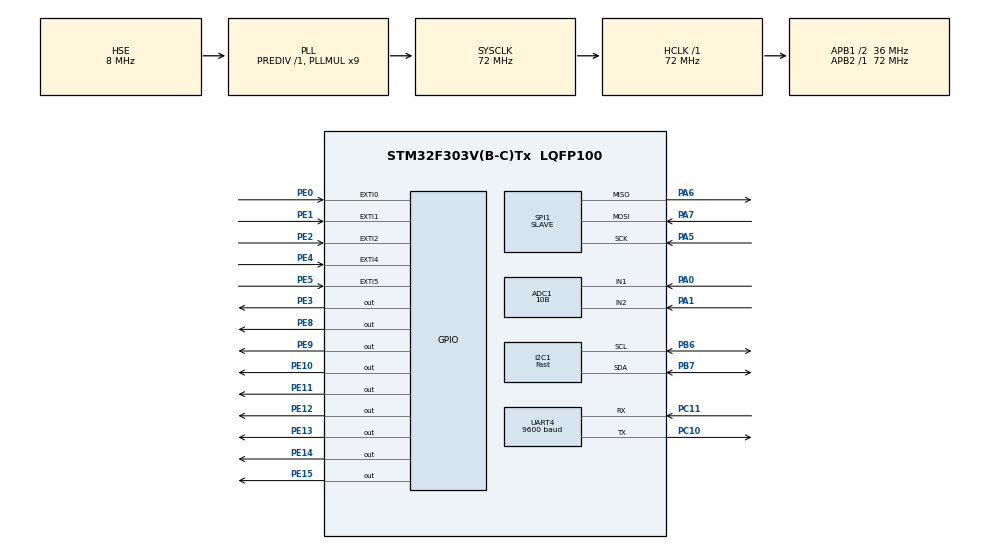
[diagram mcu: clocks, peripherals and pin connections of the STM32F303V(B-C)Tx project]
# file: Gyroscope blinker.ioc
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ADC1.Channel-43\#ChannelRegularConversion=ADC_CHANNEL_1
ADC1.Channel-44\#ChannelRegularConversion=ADC_CHANNEL_2
ADC1.ClockPrescaler=ADC_CLOCK_SYNC_PCLK_DIV4
ADC1.ContinuousConvMode=ENABLE
ADC1.DMAContinuousRequests=DISABLE
ADC1.DataAlign=ADC_DATAALIGN_RIGHT
ADC1.DiscontinuousConvMode=DISABLE
ADC1.EOCSelection=ADC_EOC_SINGLE_CONV
ADC1.EnableAnalogWatchDog1=false
ADC1.EnableAnalogWatchDog2=false
ADC1.EnableAnalogWatchDog3=false
ADC1.EnableInjectedConversion=ENABLE
ADC1.EnableRegularConversion=ENABLE
ADC1.ExternalTrigConv=ADC_SOFTWARE_START
ADC1.ExternalTrigConvEdge=ADC_EXTERNALTRIGCONVEDGE_NONE
ADC1.ExternalTrigInjecConv=ADC_INJECTED_SOFTWARE_START
ADC1.ExternalTrigInjecConvEdge=ADC_EXTERNALTRIGINJECCONV_EDGE_NONE
ADC1.InjNumberOfConversion=2
ADC1.InjectedChannel-45\#ChannelInjectedConversion=ADC_CHANNEL_1
ADC1.InjectedChannel-46\#ChannelInjectedConversion=ADC_CHANNEL_2
ADC1.InjectedConvMode=None
ADC1.InjectedOffset-45\#ChannelInjectedConversion=0
ADC1.InjectedOffset-46\#ChannelInjectedConversion=0
ADC1.InjectedOffsetNumber-45\#ChannelInjectedConversion=ADC_OFFSET_NONE
ADC1.InjectedOffsetNumber-46\#ChannelInjectedConversion=ADC_OFFSET_NONE
ADC1.InjectedRank-45\#ChannelInjectedConversion=1
ADC1.InjectedRank-46\#ChannelInjectedConversion=2
ADC1.InjectedSamplingTime-45\#ChannelInjectedConversion=ADC_SAMPLETIME_601CYCLES_5
ADC1.InjectedSamplingTime-46\#ChannelInjectedConversion=ADC_SAMPLETIME_601CYCLES_5
ADC1.LowPowerAutoWait=DISABLE
ADC1.NbrOfConversion=2
ADC1.NbrOfConversionFlag=1
ADC1.Offset-43\#ChannelRegularConversion=0
ADC1.Offset-44\#ChannelRegularConversion=0
ADC1.OffsetNumber-43\#ChannelRegularConversion=ADC_OFFSET_NONE
ADC1.OffsetNumber-44\#ChannelRegularConversion=ADC_OFFSET_NONE
ADC1.Overrun=ADC_OVR_DATA_PRESERVED
ADC1.QueueInjectedContext=DISABLE
ADC1.Rank-43\#ChannelRegularConversion=1
ADC1.Rank-44\#ChannelRegularConversion=2
ADC1.Resolution=ADC_RESOLUTION_10B
ADC1.SamplingTime-43\#ChannelRegularConversion=ADC_SAMPLETIME_601CYCLES_5
ADC1.SamplingTime-44\#ChannelRegularConversion=ADC_SAMPLETIME_601CYCLES_5
ADC1.ScanConvMode=ADC_SCAN_ENABLE
ADC1.master=1
I2C1.DualAddressMode=I2C_DUALADDRESS_ENABLE
I2C1.I2C_Speed_Mode=I2C_Fast
I2C1.Timing=0x00702681
Mcu.Family=STM32F3
Mcu.Name=STM32F303V(B-C)Tx
Mcu.Package=LQFP100
NVIC.ADC1_2_IRQn=true\:0\:0\:false\:false\:true\:true
NVIC.EXTI2_TSC_IRQn=true\:0\:0\:false\:false\:true\:true
NVIC.EXTI4_IRQn=true\:0\:0\:false\:false\:true\:true
NVIC.I2C1_ER_IRQn=true\:0\:0\:false\:false\:true\:true
NVIC.I2C1_EV_IRQn=true\:0\:0\:false\:false\:true\:true
NVIC.PriorityGroup=NVIC_PRIORITYGROUP_0
NVIC.SPI1_IRQn=true\:0\:0\:false\:false\:true\:true
NVIC.UART4_IRQn=true\:0\:0\:false\:false\:true\:true
PA0.Mode=IN1-Single-Ended
PA0.Signal=ADC1_IN1
PA1.Mode=IN2-Single-Ended
PA1.Signal=ADC1_IN2
PA11.GPIO_Mode=GPIO_MODE_AF_PP
PA11.GPIO_PuPd=GPIO_NOPULL
PA11.GPIO_Speed=GPIO_SPEED_FREQ_HIGH
PA11.Signal=USB_DM
PA12.GPIO_Mode=GPIO_MODE_AF_PP
PA12.GPIO_PuPd=GPIO_NOPULL
PA12.GPIO_Speed=GPIO_SPEED_FREQ_HIGH
PA12.Signal=USB_DP
PA13.Signal=SYS_JTMS-SWDIO
PA14.Signal=SYS_JTCK-SWCLK
PA5.Mode=Full_Duplex_Slave
PA5.Signal=SPI1_SCK
PA6.GPIO_Mode=GPIO_MODE_AF_PP
PA6.GPIO_PuPd=GPIO_NOPULL
PA6.GPIO_Speed=GPIO_SPEED_FREQ_HIGH
PA6.Mode=Full_Duplex_Slave
PA6.Signal=SPI1_MISO
PA7.GPIO_Mode=GPIO_MODE_AF_PP
PA7.GPIO_PuPd=GPIO_NOPULL
PA7.GPIO_Speed=GPIO_SPEED_FREQ_HIGH
PA7.Mode=Full_Duplex_Slave
PA7.Signal=SPI1_MOSI
PB3.Signal=SYS_JTDO-TRACESWO
PB6.GPIO_FM6=__NULL
PB6.GPIO_Mode=GPIO_MODE_AF_OD
PB6.GPIO_PuPd=GPIO_NOPULL
PB6.GPIO_PuPdOD=GPIO_PULLUP
PB6.GPIO_Speed=GPIO_SPEED_FREQ_HIGH
PB6.Mode=I2C
PB6.Signal=I2C1_SCL
PB7.GPIO_FM7=__NULL
PB7.GPIO_Mode=GPIO_MODE_AF_OD
PB7.GPIO_PuPd=GPIO_NOPULL
PB7.GPIO_PuPdOD=GPIO_PULLUP
PB7.GPIO_Speed=GPIO_SPEED_FREQ_HIGH
PB7.Mode=I2C
PB7.Signal=I2C1_SDA
PC10.Mode=Asynchronous
PC10.Signal=UART4_TX
PC11.Mode=Asynchronous
PC11.Signal=UART4_RX
PC14-OSC32_IN.Signal=RCC_OSC32_IN
PC15-OSC32_OUT.Signal=RCC_OSC32_OUT
PE0.GPIO_ModeDefaultEXTI=GPIO_MODE_IT_RISING
PE0.GPIO_PuPd=GPIO_NOPULL
PE0.Signal=GPXTI0
PE1.GPIO_ModeDefaultEXTI=GPIO_MODE_IT_RISING
PE1.GPIO_PuPd=GPIO_NOPULL
PE1.Signal=GPXTI1
PE10.GPIO_ModeDefaultOutputPP=GPIO_MODE_OUTPUT_PP
PE10.GPIO_PuPd=GPIO_NOPULL
PE10.GPIO_Speed=GPIO_SPEED_FREQ_LOW
PE10.PinState=GPIO_PIN_RESET
PE10.Signal=GPIO_Output
PE11.GPIO_ModeDefaultOutputPP=GPIO_MODE_OUTPUT_PP
PE11.GPIO_PuPd=GPIO_NOPULL
PE11.GPIO_Speed=GPIO_SPEED_FREQ_LOW
PE11.PinState=GPIO_PIN_RESET
PE11.Signal=GPIO_Output
PE12.GPIO_ModeDefaultOutputPP=GPIO_MODE_OUTPUT_PP
PE12.GPIO_PuPd=GPIO_NOPULL
PE12.GPIO_Speed=GPIO_SPEED_FREQ_LOW
PE12.PinState=GPIO_PIN_RESET
PE12.Signal=GPIO_Output
PE13.GPIO_ModeDefaultOutputPP=GPIO_MODE_OUTPUT_PP
PE13.GPIO_PuPd=GPIO_NOPULL
PE13.GPIO_Speed=GPIO_SPEED_FREQ_LOW
PE13.PinState=GPIO_PIN_RESET
PE13.Signal=GPIO_Output
PE14.GPIO_ModeDefaultOutputPP=GPIO_MODE_OUTPUT_PP
PE14.GPIO_PuPd=GPIO_NOPULL
PE14.GPIO_Speed=GPIO_SPEED_FREQ_LOW
PE14.PinState=GPIO_PIN_RESET
PE14.Signal=GPIO_Output
PE15.GPIO_ModeDefaultOutputPP=GPIO_MODE_OUTPUT_PP
PE15.GPIO_PuPd=GPIO_NOPULL
PE15.GPIO_Speed=GPIO_SPEED_FREQ_LOW
PE15.PinState=GPIO_PIN_RESET
PE15.Signal=GPIO_Output
PE2.GPIO_ModeDefaultEXTI=GPIO_MODE_IT_RISING
PE2.GPIO_PuPd=GPIO_NOPULL
PE2.Signal=GPXTI2
PE3.GPIO_ModeDefaultOutputPP=GPIO_MODE_OUTPUT_PP
PE3.GPIO_PuPd=GPIO_NOPULL
PE3.GPIO_Speed=GPIO_SPEED_FREQ_LOW
PE3.PinState=GPIO_PIN_RESET
PE3.Signal=GPIO_Output
PE4.Signal=GPXTI4
PE5.GPIO_ModeDefaultEXTI=GPIO_MODE_IT_RISING
PE5.GPIO_PuPd=GPIO_NOPULL
PE5.Signal=GPXTI5
PE8.GPIO_ModeDefaultOutputPP=GPIO_MODE_OUTPUT_PP
PE8.GPIO_PuPd=GPIO_NOPULL
PE8.GPIO_Speed=GPIO_SPEED_FREQ_LOW
PE8.PinState=GPIO_PIN_RESET
PE8.Signal=GPIO_Output
PE9.GPIO_ModeDefaultOutputPP=GPIO_MODE_OUTPUT_PP
PE9.GPIO_PuPd=GPIO_NOPULL
PE9.GPIO_Speed=GPIO_SPEED_FREQ_LOW
PE9.PinState=GPIO_PIN_RESET
PE9.Signal=GPIO_Output
PF0-OSC_IN.Mode=HSE-External-Oscillator
PF0-OSC_IN.Signal=RCC_OSC_IN
PF1-OSC_OUT.Mode=HSE-External-Oscillator
PF1-OSC_OUT.Signal=RCC_OSC_OUT
ProjectManager.HeapSize=0x200
ProjectManager.StackSize=0x400
ProjectManager.TargetToolchain=SW4STM32
RCC.AHBFreq_Value=72000000
RCC.APB1CLKDivider=RCC_HCLK_DIV2
RCC.APB1Freq_Value=36000000
RCC.APB1TimFreq_Value=72000000
RCC.APB2Freq_Value=72000000
RCC.APB2TimFreq_Value=72000000
RCC.CortexFreq_Value=72000000
RCC.HCLKFreq_Value=72000000
RCC.HSE_VALUE=8000000
RCC.HSI_VALUE=8000000
RCC.I2c1ClockSelection=RCC_I2C1CLKSOURCE_SYSCLK
RCC.I2c2ClockSelection=RCC_I2C2CLKSOURCE_SYSCLK
RCC.LSE_VALUE=32768
RCC.PLLMUL=RCC_PLL_MUL9
RCC.PLLSourceVirtual=RCC_PLLSOURCE_HSE
RCC.SYSCLKFreq_VALUE=72000000
RCC.SYSCLKSourceVirtual=RCC_SYSCLKSOURCE_PLLCLK
RCC.USBFreq_Value=72000000
RCC.Uart4ClockSelection=RCC_UART4CLKSOURCE_SYSCLK
SPI1.Direction=SPI_DIRECTION_2LINES
SPI1.Mode=SPI_MODE_SLAVE
SPI1.VirtualType=VM_SLAVE
UART4.BaudRate=9600
board=STM32F3DISCOVERY

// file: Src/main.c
/**
  ******************************************************************************
  * File Name          : main.c
  * Description        : Main program body
  ******************************************************************************
  ** This notice applies to any and all portions of this file
  * that are not between comment pairs USER CODE BEGIN and
  * USER CODE END. Other portions of this file, whether
  * inserted by the user or by software development tools
  * are owned by their respective copyright owners.
  *
  * COPYRIGHT(c) 2017 STMicroelectronics
  *
  * Redistribution and use in source and binary forms, with or without modification,
  * are permitted provided that the following conditions are met:
  *   1. Redistributions of source code must retain the above copyright notice,
  *      this list of conditions and the following disclaimer.
  *   2. Redistributions in binary form must reproduce the above copyright notice,
  *      this list of conditions and the following disclaimer in the documentation
  *      and/or other materials provided with the distribution.
  *   3. Neither the name of STMicroelectronics nor the names of its contributors
  *      may be used to endorse or promote products derived from this software
  *      without specific prior written permission.
  *
  * THIS SOFTWARE IS PROVIDED BY THE COPYRIGHT HOLDERS AND CONTRIBUTORS "AS IS"
  * AND ANY EXPRESS OR IMPLIED WARRANTIES, INCLUDING, BUT NOT LIMITED TO, THE
  * IMPLIED WARRANTIES OF MERCHANTABILITY AND FITNESS FOR A PARTICULAR PURPOSE ARE
  * DISCLAIMED. IN NO EVENT SHALL THE COPYRIGHT HOLDER OR CONTRIBUTORS BE LIABLE
  * FOR ANY DIRECT, INDIRECT, INCIDENTAL, SPECIAL, EXEMPLARY, OR CONSEQUENTIAL
  * DAMAGES (INCLUDING, BUT NOT LIMITED TO, PROCUREMENT OF SUBSTITUTE GOODS OR
  * SERVICES; LOSS OF USE, DATA, OR PROFITS; OR BUSINESS INTERRUPTION) HOWEVER
  * CAUSED AND ON ANY THEORY OF LIABILITY, WHETHER IN CONTRACT, STRICT LIABILITY,
  * OR TORT (INCLUDING NEGLIGENCE OR OTHERWISE) ARISING IN ANY WAY OUT OF THE USE
  * OF THIS SOFTWARE, EVEN IF ADVISED OF THE POSSIBILITY OF SUCH DAMAGE.
  *
  ******************************************************************************
  */

#include "main.h"
#include "stm32f3xx_hal.h"

/* USER CODE BEGIN Includes */
#include "UART_Interface.h"
#include "Joystick_2_Axis.h"
#include "Gyroscope.h"
#include "Magnetometer.h"
#include "ssd1306.h"

/* USER CODE END Includes */

ADC_HandleTypeDef hadc1;

I2C_HandleTypeDef hi2c1;

SPI_HandleTypeDef hspi1;

UART_HandleTypeDef huart4;

/* USER CODE BEGIN PV */
/* Private variables ---------------------------------------------------------*/

typedef void (*pfnMode)();

pfnMode ModeFunctions[3] = {
  GYRO_UpdateValues,
  MAGNETO_UpdateValues,
  JOYSTICK_UpdateValues,
};

volatile uint32_t current_mode = 0;

void HAL_GPIO_EXTI_Callback(uint16_t GPIO_Pin);
/* USER CODE END PV */

void SystemClock_Config(void);
static void MX_GPIO_Init(void);
static void MX_SPI1_Init(void);
static void MX_UART4_Init(void);
static void MX_I2C1_Init(void);
static void MX_ADC1_Init(void);

/* USER CODE BEGIN PFP */
/* Private function prototypes -----------------------------------------------*/

/* USER CODE END PFP */

int main(void)
{

  /* MCU Configuration----------------------------------------------------------*/

  /* Reset of all peripherals, Initializes the Flash interface and the Systick. */
  HAL_Init();

  /* Configure the system clock */
  SystemClock_Config();

  /* Initialize all configured peripherals */
  MX_GPIO_Init();

  HAL_NVIC_DisableIRQ(EXTI2_TSC_IRQn);

  MX_SPI1_Init();
  MX_UART4_Init();
  MX_I2C1_Init();
  MX_ADC1_Init();

  /* USER CODE BEGIN 2 */
  GYRO_Init();
  ACC_Init();
  MAGNETO_Init();
  JOYSTICK_Init( & _joystick );

  ssd1306_Init();
  UART_InputPromt();

  /* USER CODE END 2 */

  /* Infinite loop */
  /* USER CODE BEGIN WHILE */
  while (1){
    ModeFunctions[current_mode]();

  /* USER CODE END WHILE */

  }

}

/** System Clock Configuration
*/
void SystemClock_Config(void)
{

  RCC_OscInitTypeDef RCC_OscInitStruct;
  RCC_ClkInitTypeDef RCC_ClkInitStruct;
  RCC_PeriphCLKInitTypeDef PeriphClkInit;

    /**Initializes the CPU, AHB and APB busses clocks
    */
  RCC_OscInitStruct.OscillatorType = RCC_OSCILLATORTYPE_HSE;
  RCC_OscInitStruct.HSEState = RCC_HSE_ON;
  RCC_OscInitStruct.HSEPredivValue = RCC_HSE_PREDIV_DIV1;
  RCC_OscInitStruct.HSIState = RCC_HSI_ON;
  RCC_OscInitStruct.PLL.PLLState = RCC_PLL_ON;
  RCC_OscInitStruct.PLL.PLLSource = RCC_PLLSOURCE_HSE;
  RCC_OscInitStruct.PLL.PLLMUL = RCC_PLL_MUL9;
  if (HAL_RCC_OscConfig(&RCC_OscInitStruct) != HAL_OK)
  {
    _Error_Handler(__FILE__, __LINE__);
  }

    /**Initializes the CPU, AHB and APB busses clocks
    */
  RCC_ClkInitStruct.ClockType = RCC_CLOCKTYPE_HCLK|RCC_CLOCKTYPE_SYSCLK
                              |RCC_CLOCKTYPE_PCLK1|RCC_CLOCKTYPE_PCLK2;
  RCC_ClkInitStruct.SYSCLKSource = RCC_SYSCLKSOURCE_PLLCLK;
  RCC_ClkInitStruct.AHBCLKDivider = RCC_SYSCLK_DIV1;
  RCC_ClkInitStruct.APB1CLKDivider = RCC_HCLK_DIV2;
  RCC_ClkInitStruct.APB2CLKDivider = RCC_HCLK_DIV1;

  if (HAL_RCC_ClockConfig(&RCC_ClkInitStruct, FLASH_LATENCY_2) != HAL_OK)
  {
    _Error_Handler(__FILE__, __LINE__);
  }

  PeriphClkInit.PeriphClockSelection = RCC_PERIPHCLK_UART4|RCC_PERIPHCLK_I2C1;
  PeriphClkInit.Uart4ClockSelection = RCC_UART4CLKSOURCE_SYSCLK;
  PeriphClkInit.I2c1ClockSelection = RCC_I2C1CLKSOURCE_SYSCLK;
  if (HAL_RCCEx_PeriphCLKConfig(&PeriphClkInit) != HAL_OK)
  {
    _Error_Handler(__FILE__, __LINE__);
  }

    /**Configure the Systick interrupt time
    */
  HAL_SYSTICK_Config(HAL_RCC_GetHCLKFreq()/1000);

    /**Configure the Systick
    */
  HAL_SYSTICK_CLKSourceConfig(SYSTICK_CLKSOURCE_HCLK);

  /* SysTick_IRQn interrupt configuration */
  HAL_NVIC_SetPriority(SysTick_IRQn, 0, 0);
}

/* ADC1 init function */
static void MX_ADC1_Init(void)
{

  ADC_MultiModeTypeDef multimode;
  ADC_ChannelConfTypeDef sConfig;
  ADC_InjectionConfTypeDef sConfigInjected;

    /**Common config
    */
  hadc1.Instance = ADC1;
  hadc1.Init.ClockPrescaler = ADC_CLOCK_SYNC_PCLK_DIV4;
  hadc1.Init.Resolution = ADC_RESOLUTION_10B;
  hadc1.Init.ScanConvMode = ADC_SCAN_ENABLE;
  hadc1.Init.ContinuousConvMode = ENABLE;
  hadc1.Init.DiscontinuousConvMode = DISABLE;
  hadc1.Init.ExternalTrigConvEdge = ADC_EXTERNALTRIGCONVEDGE_NONE;
  hadc1.Init.ExternalTrigConv = ADC_SOFTWARE_START;
  hadc1.Init.DataAlign = ADC_DATAALIGN_RIGHT;
  hadc1.Init.NbrOfConversion = 2;
  hadc1.Init.DMAContinuousRequests = DISABLE;
  hadc1.Init.EOCSelection = ADC_EOC_SINGLE_CONV;
  hadc1.Init.LowPowerAutoWait = DISABLE;
  hadc1.Init.Overrun = ADC_OVR_DATA_PRESERVED;
  if (HAL_ADC_Init(&hadc1) != HAL_OK)
  {
    _Error_Handler(__FILE__, __LINE__);
  }

    /**Configure the ADC multi-mode
    */
  multimode.Mode = ADC_MODE_INDEPENDENT;
  if (HAL_ADCEx_MultiModeConfigChannel(&hadc1, &multimode) != HAL_OK)
  {
    _Error_Handler(__FILE__, __LINE__);
  }

    /**Configure Regular Channel
    */
  sConfig.Channel = ADC_CHANNEL_1;
  sConfig.Rank = 1;
  sConfig.SingleDiff = ADC_SINGLE_ENDED;
  sConfig.SamplingTime = ADC_SAMPLETIME_601CYCLES_5;
  sConfig.OffsetNumber = ADC_OFFSET_NONE;
  sConfig.Offset = 0;
  if (HAL_ADC_ConfigChannel(&hadc1, &sConfig) != HAL_OK)
  {
    _Error_Handler(__FILE__, __LINE__);
  }

    /**Configure Regular Channel
    */
  sConfig.Channel = ADC_CHANNEL_2;
  sConfig.Rank = 2;
  if (HAL_ADC_ConfigChannel(&hadc1, &sConfig) != HAL_OK)
  {
    _Error_Handler(__FILE__, __LINE__);
  }

    /**Configure Injected Channel
    */
  sConfigInjected.InjectedChannel = ADC_CHANNEL_1;
  sConfigInjected.InjectedRank = 1;
  sConfigInjected.InjectedSingleDiff = ADC_SINGLE_ENDED;
  sConfigInjected.InjectedNbrOfConversion = 2;
  sConfigInjected.InjectedSamplingTime = ADC_SAMPLETIME_601CYCLES_5;
  sConfigInjected.ExternalTrigInjecConvEdge = ADC_EXTERNALTRIGINJECCONV_EDGE_NONE;
  sConfigInjected.ExternalTrigInjecConv = ADC_INJECTED_SOFTWARE_START;
  sConfigInjected.AutoInjectedConv = DISABLE;
  sConfigInjected.InjectedDiscontinuousConvMode = DISABLE;
  sConfigInjected.QueueInjectedContext = DISABLE;
  sConfigInjected.InjectedOffset = 0;
  sConfigInjected.InjectedOffsetNumber = ADC_OFFSET_NONE;
  if (HAL_ADCEx_InjectedConfigChannel(&hadc1, &sConfigInjected) != HAL_OK)
  {
    _Error_Handler(__FILE__, __LINE__);
  }

    /**Configure Injected Channel
    */
  sConfigInjected.InjectedChannel = ADC_CHANNEL_2;
  sConfigInjected.InjectedRank = 2;
  if (HAL_ADCEx_InjectedConfigChannel(&hadc1, &sConfigInjected) != HAL_OK)
  {
    _Error_Handler(__FILE__, __LINE__);
  }

}

/* I2C1 init function */
static void MX_I2C1_Init(void)
{

  hi2c1.Instance = I2C1;
  hi2c1.Init.Timing = 0x00702681;
  hi2c1.Init.OwnAddress1 = 0;
  hi2c1.Init.AddressingMode = I2C_ADDRESSINGMODE_7BIT;
  hi2c1.Init.DualAddressMode = I2C_DUALADDRESS_ENABLE;
  hi2c1.Init.OwnAddress2 = 0;
  hi2c1.Init.OwnAddress2Masks = I2C_OA2_NOMASK;
  hi2c1.Init.GeneralCallMode = I2C_GENERALCALL_DISABLE;
  hi2c1.Init.NoStretchMode = I2C_NOSTRETCH_DISABLE;
  if (HAL_I2C_Init(&hi2c1) != HAL_OK)
  {
    _Error_Handler(__FILE__, __LINE__);
  }

    /**Configure Analogue filter
    */
  if (HAL_I2CEx_ConfigAnalogFilter(&hi2c1, I2C_ANALOGFILTER_ENABLE) != HAL_OK)
  {
    _Error_Handler(__FILE__, __LINE__);
  }

    /**Configure Digital filter
    */
  if (HAL_I2CEx_ConfigDigitalFilter(&hi2c1, 0) != HAL_OK)
  {
    _Error_Handler(__FILE__, __LINE__);
  }

}

/* SPI1 init function */
static void MX_SPI1_Init(void)
{

  /* SPI1 parameter configuration*/
  hspi1.Instance = SPI1;
  hspi1.Init.Mode = SPI_MODE_SLAVE;
  hspi1.Init.Direction = SPI_DIRECTION_2LINES;
  hspi1.Init.DataSize = SPI_DATASIZE_4BIT;
  hspi1.Init.CLKPolarity = SPI_POLARITY_LOW;
  hspi1.Init.CLKPhase = SPI_PHASE_1EDGE;
  hspi1.Init.NSS = SPI_NSS_SOFT;
  hspi1.Init.FirstBit = SPI_FIRSTBIT_MSB;
  hspi1.Init.TIMode = SPI_TIMODE_DISABLE;
  hspi1.Init.CRCCalculation = SPI_CRCCALCULATION_DISABLE;
  hspi1.Init.CRCPolynomial = 7;
  hspi1.Init.CRCLength = SPI_CRC_LENGTH_DATASIZE;
  hspi1.Init.NSSPMode = SPI_NSS_PULSE_DISABLE;
  if (HAL_SPI_Init(&hspi1) != HAL_OK)
  {
    _Error_Handler(__FILE__, __LINE__);
  }

}

/* UART4 init function */
static void MX_UART4_Init(void)
{

  huart4.Instance = UART4;
  huart4.Init.BaudRate = 9600;
  huart4.Init.WordLength = UART_WORDLENGTH_8B;
  huart4.Init.StopBits = UART_STOPBITS_1;
  huart4.Init.Parity = UART_PARITY_NONE;
  huart4.Init.Mode = UART_MODE_TX_RX;
  huart4.Init.HwFlowCtl = UART_HWCONTROL_NONE;
  huart4.Init.OverSampling = UART_OVERSAMPLING_16;
  huart4.Init.OneBitSampling = UART_ONE_BIT_SAMPLE_DISABLE;
  huart4.AdvancedInit.AdvFeatureInit = UART_ADVFEATURE_NO_INIT;
  if (HAL_UART_Init(&huart4) != HAL_OK)
  {
    _Error_Handler(__FILE__, __LINE__);
  }

}

/** Configure pins as
        * Analog
        * Input
        * Output
        * EVENT_OUT
        * EXTI
        * Free pins are configured automatically as Analog (this feature is enabled through
        * the Code Generation settings)
     PA11   ------> USB_DM
     PA12   ------> USB_DP
*/
static void MX_GPIO_Init(void)
{

  GPIO_InitTypeDef GPIO_InitStruct;

  /* GPIO Ports Clock Enable */
  __HAL_RCC_GPIOE_CLK_ENABLE();
  __HAL_RCC_GPIOC_CLK_ENABLE();
  __HAL_RCC_GPIOF_CLK_ENABLE();
  __HAL_RCC_GPIOA_CLK_ENABLE();
  __HAL_RCC_GPIOB_CLK_ENABLE();
  __HAL_RCC_GPIOD_CLK_ENABLE();

  /*Configure GPIO pin Output Level */
  HAL_GPIO_WritePin(GPIOE, GPIO_PIN_3|GPIO_PIN_8|GPIO_PIN_9|GPIO_PIN_10
                          |GPIO_PIN_11|GPIO_PIN_12|GPIO_PIN_13|GPIO_PIN_14
                          |GPIO_PIN_15, GPIO_PIN_RESET);

  /*Configure GPIO pins : PE2 PE4 PE5 PE0
                           PE1 */
  GPIO_InitStruct.Pin = GPIO_PIN_2|GPIO_PIN_4|GPIO_PIN_5|GPIO_PIN_0
                          |GPIO_PIN_1;
  GPIO_InitStruct.Mode = GPIO_MODE_IT_RISING;
  GPIO_InitStruct.Pull = GPIO_NOPULL;
  HAL_GPIO_Init(GPIOE, &GPIO_InitStruct);

  /*Configure GPIO pins : PE3 PE8 PE9 PE10
                           PE11 PE12 PE13 PE14
                           PE15 */
  GPIO_InitStruct.Pin = GPIO_PIN_3|GPIO_PIN_8|GPIO_PIN_9|GPIO_PIN_10
                          |GPIO_PIN_11|GPIO_PIN_12|GPIO_PIN_13|GPIO_PIN_14
                          |GPIO_PIN_15;
  GPIO_InitStruct.Mode = GPIO_MODE_OUTPUT_PP;
  GPIO_InitStruct.Pull = GPIO_NOPULL;
  GPIO_InitStruct.Speed = GPIO_SPEED_FREQ_LOW;
  HAL_GPIO_Init(GPIOE, &GPIO_InitStruct);

  /*Configure GPIO pins : PE6 PE7 */
  GPIO_InitStruct.Pin = GPIO_PIN_6|GPIO_PIN_7;
  GPIO_InitStruct.Mode = GPIO_MODE_ANALOG;
  GPIO_InitStruct.Pull = GPIO_NOPULL;
  HAL_GPIO_Init(GPIOE, &GPIO_InitStruct);

  /*Configure GPIO pins : PC13 PC0 PC1 PC2
                           PC3 PC4 PC5 PC6
                           PC7 PC8 PC9 PC12 */
  GPIO_InitStruct.Pin = GPIO_PIN_13|GPIO_PIN_0|GPIO_PIN_1|GPIO_PIN_2
                          |GPIO_PIN_3|GPIO_PIN_4|GPIO_PIN_5|GPIO_PIN_6
                          |GPIO_PIN_7|GPIO_PIN_8|GPIO_PIN_9|GPIO_PIN_12;
  GPIO_InitStruct.Mode = GPIO_MODE_ANALOG;
  GPIO_InitStruct.Pull = GPIO_NOPULL;
  HAL_GPIO_Init(GPIOC, &GPIO_InitStruct);

  /*Configure GPIO pins : PF9 PF10 PF2 PF4
                           PF6 */
  GPIO_InitStruct.Pin = GPIO_PIN_9|GPIO_PIN_10|GPIO_PIN_2|GPIO_PIN_4
                          |GPIO_PIN_6;
  GPIO_InitStruct.Mode = GPIO_MODE_ANALOG;
  GPIO_InitStruct.Pull = GPIO_NOPULL;
  HAL_GPIO_Init(GPIOF, &GPIO_InitStruct);

  /*Configure GPIO pins : PA2 PA3 PA4 PA8
                           PA9 PA10 PA15 */
  GPIO_InitStruct.Pin = GPIO_PIN_2|GPIO_PIN_3|GPIO_PIN_4|GPIO_PIN_8
                          |GPIO_PIN_9|GPIO_PIN_10|GPIO_PIN_15;
  GPIO_InitStruct.Mode = GPIO_MODE_ANALOG;
  GPIO_InitStruct.Pull = GPIO_NOPULL;
  HAL_GPIO_Init(GPIOA, &GPIO_InitStruct);

  /*Configure GPIO pins : PB0 PB1 PB2 PB10
                           PB11 PB12 PB13 PB14
                           PB15 PB4 PB5 PB8
                           PB9 */
  GPIO_InitStruct.Pin = GPIO_PIN_0|GPIO_PIN_1|GPIO_PIN_2|GPIO_PIN_10
                          |GPIO_PIN_11|GPIO_PIN_12|GPIO_PIN_13|GPIO_PIN_14
                          |GPIO_PIN_15|GPIO_PIN_4|GPIO_PIN_5|GPIO_PIN_8
                          |GPIO_PIN_9;
  GPIO_InitStruct.Mode = GPIO_MODE_ANALOG;
  GPIO_InitStruct.Pull = GPIO_NOPULL;
  HAL_GPIO_Init(GPIOB, &GPIO_InitStruct);

  /*Configure GPIO pins : PD8 PD9 PD10 PD11
                           PD12 PD13 PD14 PD15
                           PD0 PD1 PD2 PD3
                           PD4 PD5 PD6 PD7 */
  GPIO_InitStruct.Pin = GPIO_PIN_8|GPIO_PIN_9|GPIO_PIN_10|GPIO_PIN_11
                          |GPIO_PIN_12|GPIO_PIN_13|GPIO_PIN_14|GPIO_PIN_15
                          |GPIO_PIN_0|GPIO_PIN_1|GPIO_PIN_2|GPIO_PIN_3
                          |GPIO_PIN_4|GPIO_PIN_5|GPIO_PIN_6|GPIO_PIN_7;
  GPIO_InitStruct.Mode = GPIO_MODE_ANALOG;
  GPIO_InitStruct.Pull = GPIO_NOPULL;
  HAL_GPIO_Init(GPIOD, &GPIO_InitStruct);

  /*Configure GPIO pins : PA11 PA12 */
  GPIO_InitStruct.Pin = GPIO_PIN_11|GPIO_PIN_12;
  GPIO_InitStruct.Mode = GPIO_MODE_AF_PP;
  GPIO_InitStruct.Pull = GPIO_NOPULL;
  GPIO_InitStruct.Speed = GPIO_SPEED_FREQ_HIGH;
  GPIO_InitStruct.Alternate = GPIO_AF14_USB;
  HAL_GPIO_Init(GPIOA, &GPIO_InitStruct);

  /* EXTI interrupt init*/
  HAL_NVIC_SetPriority(EXTI2_TSC_IRQn, 0, 0);
  HAL_NVIC_EnableIRQ(EXTI2_TSC_IRQn);

  HAL_NVIC_SetPriority(EXTI4_IRQn, 0, 0);
  HAL_NVIC_EnableIRQ(EXTI4_IRQn);

}

/* USER CODE BEGIN 4 */
void HAL_GPIO_EXTI_Callback(uint16_t GPIO_Pin){
  if (GPIO_Pin == GPIO_PIN_2){
    BSP_MAGNETO_GetXYZ(magneto_xyz);
    BSP_ACCELERO_GetXYZ(acc_xyz);
  }
}
/* USER CODE END 4 */

void _Error_Handler(char * file, int line)
{
  while(1)
  {
  }
}

/************************ (C) COPYRIGHT STMicroelectronics *****END OF FILE****/
